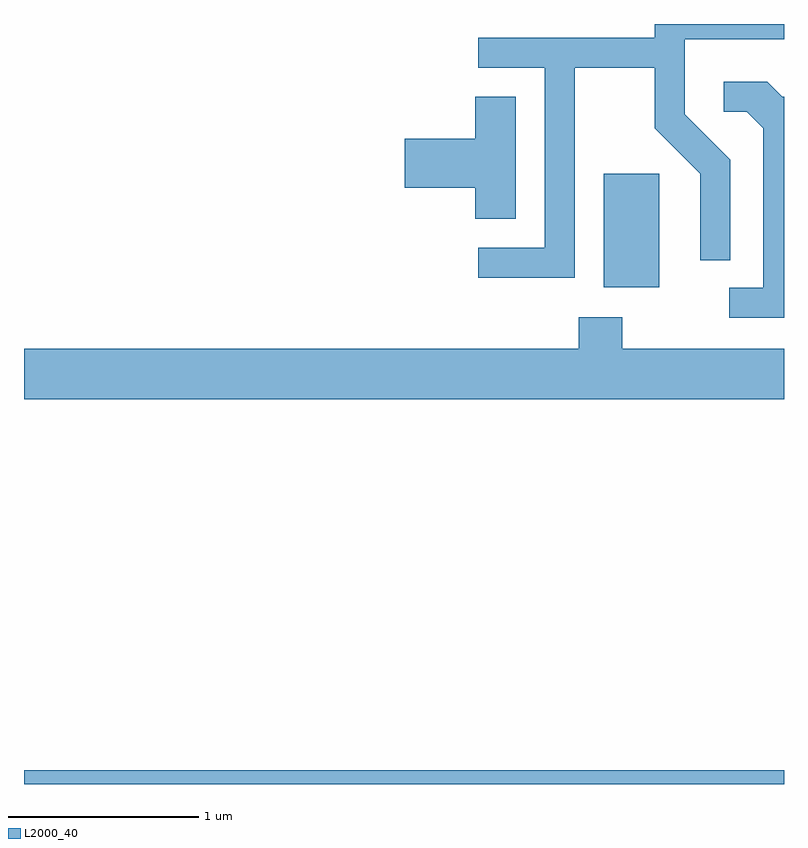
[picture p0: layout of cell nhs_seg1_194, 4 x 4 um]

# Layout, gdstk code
import gdstk
lib = gdstk.Library(unit=1e-6, precision=1e-09)
def R(c, l, rs):  # rectangles x0, y0, x1, y1
    for r in rs: c.add(gdstk.rectangle(r[:2], r[2:], *l))
def P(c, l, *ps):  # polygons
    for p in ps: c.add(gdstk.Polygon(p, *l))
L2000_40 = (2000, 40)

nhs_seg1_194 = lib.new_cell('nhs_seg1_194')
R(nhs_seg1_194, L2000_40, [(189.611,959.712,193.611,959.784), (192.661,962.326,192.954,962.924)])
P(nhs_seg1_194, L2000_40, [(192.509,963.481),(192.931,963.481),(192.931,963.164),(193.171,962.924),(193.171,962.468),(193.329,962.468),(193.329,962.997),(193.089,963.237),(193.089,963.631),(193.611,963.631),(193.611,963.712),(192.931,963.712),(192.931,963.639),(192.003,963.639),(192.003,963.481),(192.351,963.481),(192.351,962.534),(192.003,962.534),(192.003,962.376),(192.509,962.376)],
  [(193.611,963.329),(193.602,963.329),(193.522,963.409),(193.293,963.409),(193.293,963.251),(193.414,963.251),(193.501,963.164),(193.501,962.324),(193.323,962.324),(193.323,962.166),(193.611,962.166)],
  [(192.199,963.329),(191.986,963.329),(191.986,963.109),(191.616,963.109),(191.616,962.851),(191.986,962.851),(191.986,962.686),(192.199,962.686)],
  [(193.611,962.004),(192.759,962.004),(192.759,962.169),(192.531,962.169),(192.531,962.004),(189.611,962.004),(189.611,961.736),(193.611,961.736)])

lib.write_gds('nhs_seg1_194.gds')
